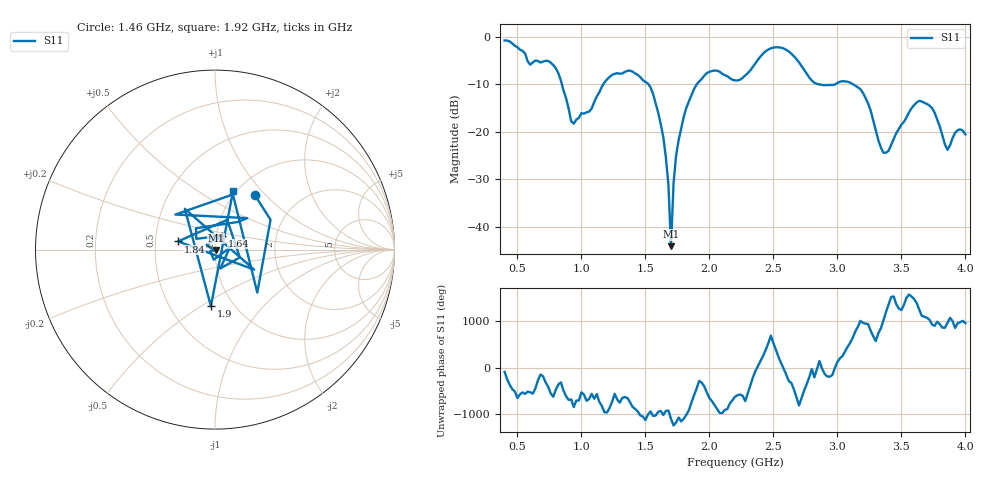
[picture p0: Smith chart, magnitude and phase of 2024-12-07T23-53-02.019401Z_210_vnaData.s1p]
!Created with skrf (http://scikit-rf.org).
# Hz S RI R 50.0
!freq ReS11 ImS11
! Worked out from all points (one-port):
!   181 points, 400 MHz to 4 GHz, reference 50 ohm
!   lowest |S11| = -44.0 dB at 1.7 GHz (marker M1), VSWR 1.01, Z = 50.6 - j0.211 ohm
!   |S11| at or under -10 dB: 847.7 MHz to 1.171 GHz (323 MHz wide, 32 % of centre); 1.525 GHz to 1.9 GHz (375.7 MHz wide, 21.9 % of centre); 3.124 GHz to end of sweep (the widest 3 of 4)
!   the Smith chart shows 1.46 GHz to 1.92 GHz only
!   S11 on the Smith chart (normalised r, x): 1.46 GHz: 1.22, +0.87; 1.64 GHz: 1.07, +0.17; 1.84 GHz: 0.66, +0.06; 1.9 GHz: 0.79, -0.55; 1.92 GHz: 0.97, +0.71
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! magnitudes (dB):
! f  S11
! 400 MHz  -0.7
! 600 MHz  -5.8
! 760 MHz  -5.4
! 860 MHz  -11.3
! 940 MHz  -18.3
! 1.3 GHz  -7.8
! 1.46 GHz  -8.5
! 1.56 GHz  -12.0
! 1.64 GHz  -21.1
! 1.68 GHz  -31.2
! 1.7 GHz  -44.0
! 1.72 GHz  -30.8
! 1.76 GHz  -21.7
! 1.84 GHz  -13.5
! 1.9 GHz  -10.0
! 1.92 GHz  -9.4
! 2.2 GHz  -9.1
! 2.48 GHz  -2.4
! 2.66 GHz  -4.1
! 2.82 GHz  -9.6
! 3.1 GHz  -9.6
! 3.22 GHz  -12.8
! 3.36 GHz  -24.4
! 3.56 GHz  -15.8
! 3.72 GHz  -14.5
! 3.86 GHz  -23.8
! 3.94 GHz  -19.6
! 4 GHz  -20.5
